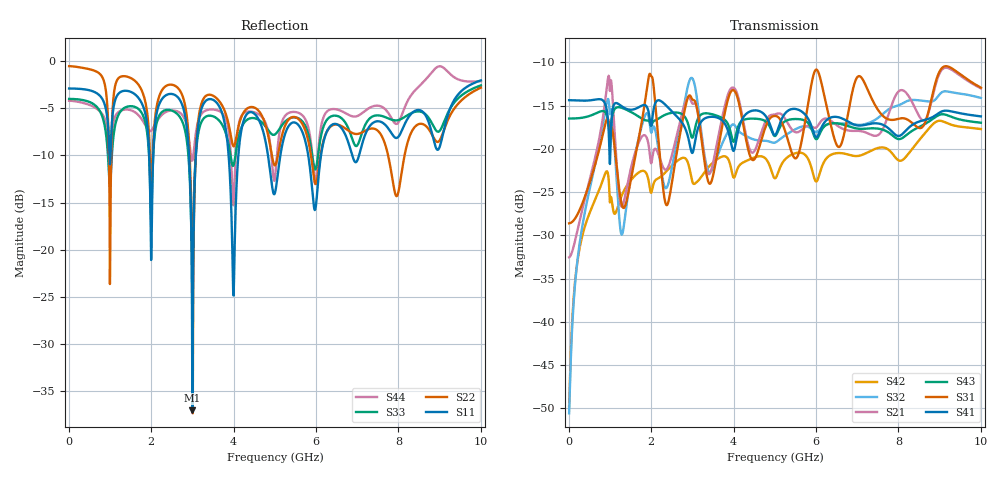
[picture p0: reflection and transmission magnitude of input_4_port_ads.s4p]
! Created Tue May 11 18:49:54 2021
# hz S ma R 50
! 4 Port Network Data from SP1.SP block
! freq  magS11  angS11  magS12  angS12  magS13  angS13  magS14  angS14
!  magS21  angS21  magS22  angS22  magS23  angS23  magS24  angS24
!  magS31  angS31  magS32  angS32  magS33  angS33  magS34  angS34
!  magS41  angS41  magS42  angS42  magS43  angS43  magS44  angS44
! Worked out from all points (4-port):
!   1000 points, 10 MHz to 10 GHz, reference 50 ohm
!   strongest paths, dB at 10 MHz, 2.51 GHz, 5.01 GHz, 7.51 GHz, 10 GHz:
!     S41: -14.4, -15.7, -18.4, -17.1, -16.2
!     S31: -28.6, -23.7, -16.2, -15.5, -12.9
!     S43: -16.5, -15.8, -18.5, -17.7, -17.0
!     S21: -32.5, -20.6, -16.0, -18.4, -13.0
!     S32: -50.6, -22.0, -19.3, -16.4, -14.1
!     S42: -49.7, -21.9, -23.4, -19.9, -17.7
!   lowest |S11| = -37.1 dB at 3 GHz (marker M1), VSWR 1.03, Z = 50.8 - j1.16 ohm
!   |S11| at or under -10 dB: 3.879 GHz to 4.116 GHz (236.5 MHz wide, 5.91 % of centre); 4.835 GHz to 5.135 GHz (299.8 MHz wide, 6.01 % of centre); 5.812 GHz to 6.12 GHz (308.7 MHz wide, 5.18 % of centre)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
1e7  0.7174 -0.2  0.02363 2.5  0.0371 1.1  0.1911 -0.1
     0.02363 2.5  0.9425 -0.3  0.002961 20.6  0.003258 19.8
     0.0371 1.1  0.002961 20.6  0.6317 -0.2  0.1497 0.0
     0.1911 -0.1  0.003258 19.8  0.1497 0.0  0.6176 -0.2
9.2e8  0.5309 -48.9  0.2214 33.9  0.1477 18.4  0.1694 -25.6
       0.2214 33.9  0.6447 -52.8  0.1846 34.2  0.07419 22.5
       0.1477 18.4  0.1846 34.2  0.3848 -29.2  0.1575 -9.4
       0.1694 -25.6  0.07419 22.5  0.1575 -9.4  0.4488 -20.4
1.29e9  0.6927 2.8  0.04633 -1.2  0.04737 2.3  0.176 -11.4
        0.04633 -1.2  0.8325 -2.8  0.03189 14.1  0.05395 35.9
        0.04737 2.3  0.03189 14.1  0.5522 6.7  0.1725 -7.4
        0.176 -11.4  0.05395 35.9  0.1725 -7.4  0.5501 4.2
3e9  0.014 -54.3  0.1828 3.4  0.1931 3.7  0.09465 -17.8
     0.1828 3.4  0.03684 -88.1  0.2554 3.5  0.06451 3.7
     0.1931 3.7  0.2554 3.5  0.0955 13.1  0.1159 -14.6
     0.09465 -17.8  0.06451 3.7  0.1159 -14.6  0.297 8.0
3.36e9  0.6247 7.3  0.07415 -3.8  0.06806 -9.2  0.1519 -14.1
        0.07415 -3.8  0.6615 5.5  0.0775 -14.4  0.07685 20.0
        0.06806 -9.2  0.0775 -14.4  0.5123 15.6  0.1604 -16.3
        0.1519 -14.1  0.07685 20.0  0.1604 -16.3  0.5513 10.0
4e9  0.05705 7.7  0.2255 1.4  0.2183 4.6  0.09729 -15.0
     0.2255 1.4  0.3536 -7.1  0.1384 7.7  0.06822 6.4
     0.2183 4.6  0.1384 7.7  0.2807 16.7  0.1098 -19.9
     0.09729 -15.0  0.06822 6.4  0.1098 -19.9  0.1732 17.2
1e10  0.7923 52.1  0.2238 -44.8  0.2258 -46.3  0.154 -44.8
      0.2238 -44.8  0.7246 49.8  0.1969 -38.3  0.1301 -23.2
      0.2258 -46.3  0.1969 -38.3  0.745 45.9  0.1415 -43.8
      0.154 -44.8  0.1301 -23.2  0.1415 -43.8  0.785 28.4
